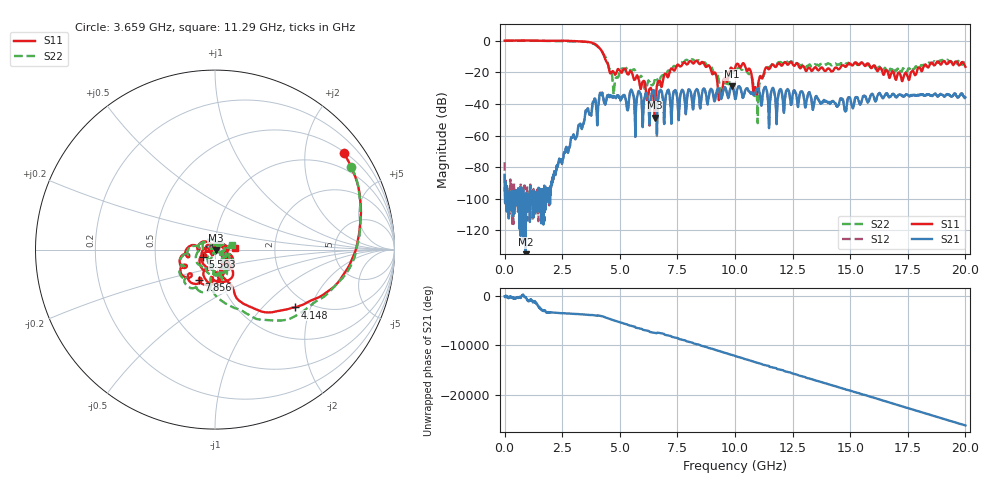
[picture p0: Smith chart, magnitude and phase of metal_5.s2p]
#  HZ  S  RI  R  50.00
! Rohde & Schwarz Vector Network Analyzer
! Rohde-Schwarz,ZNB20-2Port,1311601062102128,3.60
! Created: UTC 4/29/2024, 2:40:35 PM
! freq[Hz]  re:S11  im:S11  re:S21  im:S21  re:S12  im:S12  re:S22  im:S22
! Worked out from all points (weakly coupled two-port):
!   2007 points, 100 kHz to 20 GHz, reference 50 ohm
!   highest |S21| = -28.79 dB at 9.85 GHz (marker M1); lowest = -149.2 dB at 907.4 MHz (marker M2)
!   lowest |S11| = -48.8 dB at 6.511 GHz (marker M3), VSWR 1.01, Z = 50.3 - j0.18 ohm
!   |S11| at or under -10 dB: 4.325 GHz to end of sweep
!   |S22| runs from -52.2 to 0.1 dB; largest |S21 - S12| = 0.0018
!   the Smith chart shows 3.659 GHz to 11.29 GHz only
!   S11 on the Smith chart (normalised r, x): 3.659 GHz: 0.53, +2.92; 4.148 GHz: 1.69, -1.56; 5.563 GHz: 0.87, -0.07; 7.856 GHz: 0.79, -0.28; 11.29 GHz: 1.26, +0.02
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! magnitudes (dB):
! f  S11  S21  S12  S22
! 100 kHz  0.0  -84.8  -76.8  0.1
! 907.4 MHz  0.1  -149.2  -103.4  0.0
! 2.213 GHz  -0.1  -84.1  -85.0  -0.3
! 3.34 GHz  -0.6  -55.6  -55.5  -0.6
! 3.659 GHz  -0.9  -45.6  -45.5  -1.0
! 4.148 GHz  -5.2  -33.3  -32.9  -5.1
! 4.756 GHz  -20.5  -35.7  -35.8  -30.2
! 5.563 GHz  -22.0  -33.3  -33.2  -18.5
! 6.511 GHz  -48.8  -33.0  -33.0  -25.0
! 6.67 GHz  -25.8  -36.2  -36.3  -26.9
! 7.856 GHz  -14.3  -45.5  -45.7  -12.3
! 8.863 GHz  -15.7  -35.2  -35.2  -16.6
! 9.362 GHz  -33.0  -35.4  -35.5  -32.9
! 9.85 GHz  -17.3  -28.8  -28.8  -20.4
! 10 GHz  -17.4  -36.8  -36.7  -20.4
! 10.65 GHz  -18.2  -32.7  -32.7  -20.8
! 10.93 GHz  -32.0  -31.0  -30.9  -33.0
! 11.29 GHz  -18.9  -29.5  -29.6  -20.1
! 11.48 GHz  -18.1  -55.3  -54.6  -17.0
! 13.34 GHz  -19.2  -39.6  -39.7  -16.0
! 16.67 GHz  -22.1  -35.5  -35.3  -20.3
! 20 GHz  -16.5  -35.9  -35.9  -13.9
